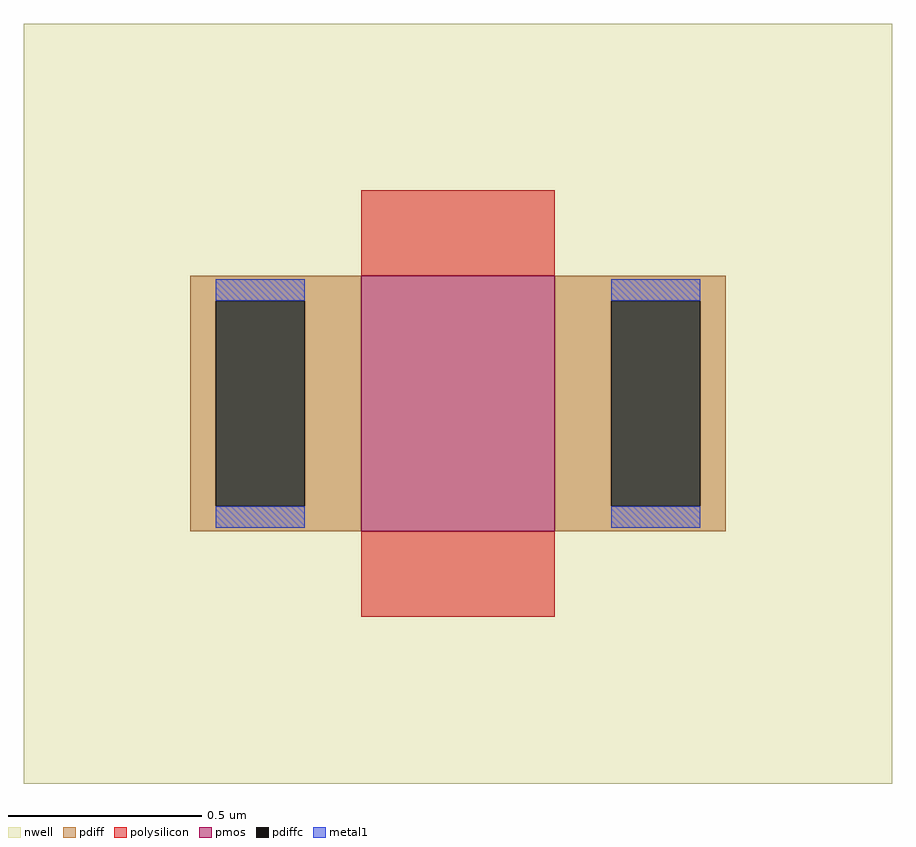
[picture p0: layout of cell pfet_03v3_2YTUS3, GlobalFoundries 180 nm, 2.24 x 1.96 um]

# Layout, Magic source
magic
tech gf180mcuD
magscale 1 10
<< nwell >>
rect -224 -196 224 196
<< pmos >>
rect -50 -66 50 66
<< pdiff >>
rect -138 53 -50 66
rect -138 -53 -125 53
rect -79 -53 -50 53
rect -138 -66 -50 -53
rect 50 53 138 66
rect 50 -53 79 53
rect 125 -53 138 53
rect 50 -66 138 -53
<< pdiffc >>
rect -125 -53 -79 53
rect 79 -53 125 53
<< polysilicon >>
rect -50 66 50 110
rect -50 -110 50 -66
<< metal1 >>
rect -125 53 -79 64
rect -125 -64 -79 -53
rect 79 53 125 64
rect 79 -64 125 -53
<< properties >>
string gencell pfet_03v3
string library gf180mcu
string parameters w 0.66 l 0.5 m 1 nf 1 diffcov 100 polycov 100 guard 0 glc 1 grc 1 gtc 0 gbc 0 tbcov 100 rlcov 100 topc 0 botc 0 poverlap 0 doverlap 1 lmin 0.28 wmin 0.22 class mosfet full_metal 0 compatible {pfet_03v3 pfet_06v0}
<< end >>
